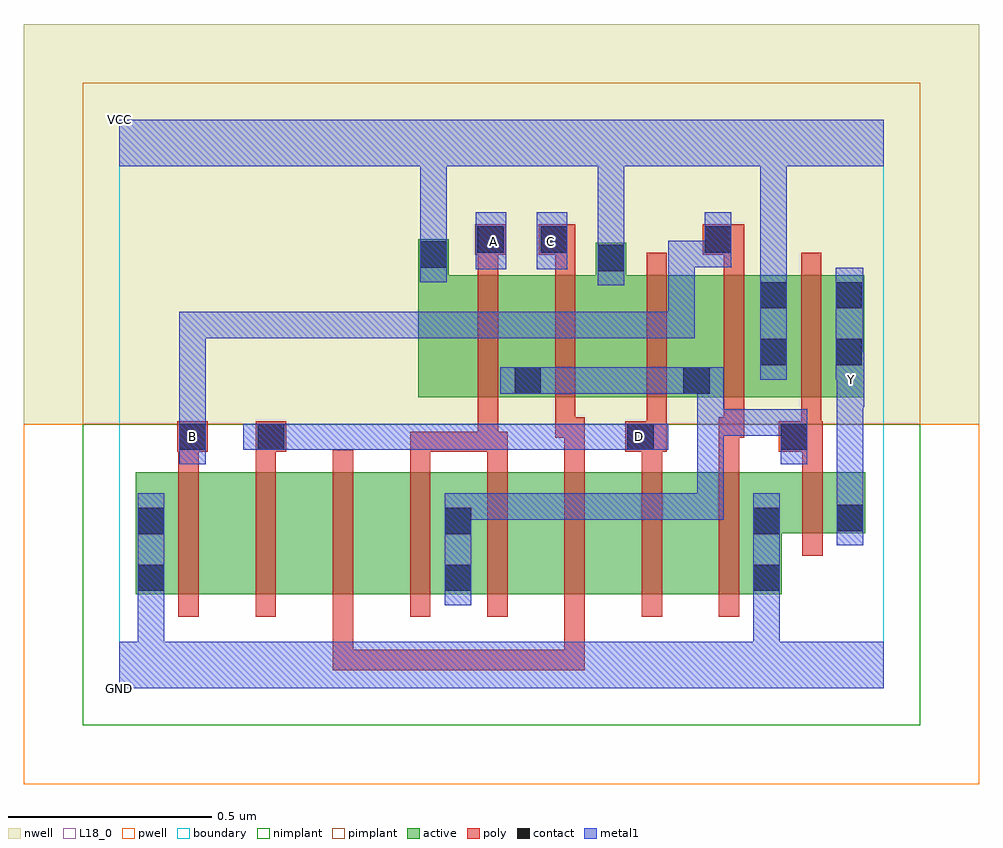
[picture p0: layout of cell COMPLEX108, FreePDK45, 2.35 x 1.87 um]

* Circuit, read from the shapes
.subckt COMPLEX108 A B C D GND VCC Y
M1 n1 B GND VSUBS nfet w=0.3u l=0.05u
M2 n2 D n1 VSUBS nfet w=0.3u l=0.05u
M3 n3 C n2 VSUBS nfet w=0.3u l=0.05u
M4 n4 A n3 VSUBS nfet w=0.3u l=0.05u
M5 n5 A n4 VSUBS nfet w=0.3u l=0.05u
M6 n6 C n5 VSUBS nfet w=0.3u l=0.05u
M7 n7 D n6 VSUBS nfet w=0.3u l=0.05u
M8 GND B n7 VSUBS nfet w=0.3u l=0.05u
M9 Y n4 GND VSUBS nfet w=0.15u l=0.05u
M10 n4 A VCC n8 pfet w=0.3u l=0.05u
M11 VCC C n4 n8 pfet w=0.3u l=0.05u
M12 n4 D VCC n8 pfet w=0.3u l=0.05u
M13 VCC B n4 n8 pfet w=0.3u l=0.05u
M14 Y n4 VCC n8 pfet w=0.3u l=0.05u
.ends

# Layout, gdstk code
import gdstk
lib = gdstk.Library(unit=1e-6, precision=1e-09)
def R(c, l, rs):  # rectangles x0, y0, x1, y1
    for r in rs: c.add(gdstk.rectangle(r[:2], r[2:], *l))
def A(c, l, x, y, w, h, nx, ny, dx, dy):  # array of equal rectangles
    R(c, l, [(x+i*dx, y+j*dy, x+i*dx+w, y+j*dy+h) for i in range(nx) for j in range(ny)])
active = (1, 0)
pwell = (2, 0)
nwell = (3, 0)
nimplant = (4, 0)
pimplant = (5, 0)
poly = (9, 0)
contact = (10, 0)
metal1 = (11, 0)
L18_0 = (18, 0)
boundary = (235, 0)

complex108 = lib.new_cell('COMPLEX108')
R(complex108, active, [(0.04,0.232,0.115,0.532), (0.04,0.232,0.265,0.532), (0.265,0.232,0.455,0.532), (0.455,0.232,0.645,0.532), (0.645,0.232,0.87,0.532), (0.795,0.232,0.87,0.532), (0.795,0.232,1.025,0.532), (1.025,0.232,1.215,0.532), (1.215,0.232,1.405,0.532), (1.405,0.232,1.63,0.532), (1.555,0.232,1.63,0.532), (1.555,0.382,1.835,0.532), (1.76,0.382,1.835,0.532), (0.735,0.717,1.042,1.017), (0.735,0.717,0.81,1.105), (0.967,0.717,1.247,1.017), (1.172,0.717,1.457,1.017), (1.382,0.717,1.647,1.017), (1.572,0.717,1.832,1.017), (1.757,0.717,1.832,1.005), (0.967,0.72,1.042,0.937), (1.382,0.72,1.457,1.005), (1.572,0.79,1.647,1.005), (1.172,0.867,1.247,1.097)])
R(complex108, pwell, [(-0.235,-0.235,2.115,0.65)])
R(complex108, nwell, [(-0.235,0.65,2.115,1.635)])
R(complex108, nimplant, [(-0.09,-0.09,1.97,0.65)])
R(complex108, pimplant, [(-0.09,0.65,1.97,1.49)])
A(complex108, poly, 0.145, 0.177, 0.05, 0.41, 8, 1, 0.19, 0)
A(complex108, poly, 1.297, 0.662, 0.05, 0.41, 3, 1, 0.19, 0)
R(complex108, poly, [(0.525,0.045,0.575,0.227), (0.525,0.045,0.575,0.095), (0.525,0.045,0.575,0.095), (0.525,0.045,0.575,0.095), (0.525,0.045,0.707,0.095), (0.657,0.045,0.707,0.095), (0.657,0.045,0.707,0.095), (0.657,0.045,0.707,0.095), (0.657,0.045,0.897,0.095), (0.847,0.045,0.897,0.095), (0.847,0.045,1.145,0.095), (1.095,0.045,1.145,0.227), (1.095,0.045,1.145,0.095), (1.095,0.045,1.145,0.095), (1.095,0.045,1.145,0.095), (1.68,0.327,1.73,0.587), (0.145,0.537,0.195,0.632), (0.335,0.537,0.385,0.632), (0.715,0.537,0.765,0.632), (0.905,0.537,0.955,0.632), (1.095,0.537,1.145,0.667), (1.285,0.537,1.335,0.632), (1.475,0.537,1.525,0.667), (1.68,0.537,1.73,0.632), (0.142,0.582,0.217,0.657), (0.335,0.582,0.41,0.657), (0.715,0.582,0.765,0.632), (0.715,0.582,0.765,0.632), (0.715,0.582,0.765,0.632), (0.715,0.582,0.932,0.632), (0.882,0.582,0.932,0.712), (0.882,0.582,0.955,0.632), (1.245,0.582,1.347,0.657), (1.622,0.582,1.73,0.657), (1.297,0.607,1.347,0.712), (1.677,0.607,1.727,0.712), (1.072,0.617,1.122,0.712), (1.072,0.617,1.145,0.667), (1.475,0.617,1.537,0.667), (1.487,0.617,1.537,0.712), (0.882,0.662,0.932,1.072), (1.072,0.662,1.122,1.072), (0.882,1.022,0.932,1.117), (1.072,1.022,1.122,1.117), (1.487,1.022,1.537,1.117), (0.875,1.067,0.95,1.142), (1.032,1.067,1.122,1.142), (1.435,1.067,1.537,1.142)])
R(complex108, contact, [(0.045,0.24,0.11,0.305), (0.8,0.24,0.865,0.305), (1.56,0.24,1.625,0.305), (0.045,0.38,0.11,0.445), (0.8,0.38,0.865,0.445), (1.56,0.38,1.625,0.445), (1.765,0.387,1.83,0.452), (0.147,0.587,0.212,0.652), (0.34,0.587,0.405,0.652), (1.25,0.587,1.315,0.652), (1.627,0.587,1.692,0.652), (0.972,0.725,1.037,0.79), (1.387,0.725,1.452,0.79), (1.577,0.795,1.642,0.86), (1.762,0.795,1.827,0.86), (1.577,0.935,1.642,1), (1.762,0.935,1.827,1), (1.177,1.027,1.242,1.092), (0.74,1.035,0.805,1.1), (0.88,1.072,0.945,1.137), (1.037,1.072,1.102,1.137), (1.44,1.072,1.505,1.137)])
R(complex108, metal1, [(0,0,1.88,0.115), (0.045,0.05,0.11,0.115), (0.045,0.05,0.11,0.115), (0.045,0.05,0.11,0.115), (0.045,0.05,0.11,0.115), (0.045,0.05,0.11,0.27), (1.56,0.05,1.625,0.115), (1.56,0.05,1.625,0.115), (1.56,0.05,1.625,0.115), (1.56,0.05,1.625,0.115), (1.56,0.05,1.625,0.27), (0.045,0.205,0.11,0.48), (0.8,0.205,0.865,0.48), (1.56,0.205,1.625,0.48), (1.765,0.352,1.83,0.487), (0.8,0.415,0.865,0.48), (0.8,0.415,0.865,0.48), (0.8,0.415,1.097,0.48), (1.032,0.415,1.097,0.48), (1.032,0.415,1.097,0.48), (1.032,0.415,1.097,0.48), (1.032,0.415,1.277,0.48), (1.212,0.415,1.277,0.48), (1.212,0.415,1.277,0.48), (1.212,0.415,1.277,0.48), (1.212,0.415,1.487,0.48), (1.422,0.415,1.487,0.48), (1.422,0.415,1.487,0.687), (1.765,0.422,1.83,0.757), (0.147,0.552,0.212,0.687), (1.627,0.552,1.692,0.687), (0.305,0.587,0.44,0.652), (0.375,0.587,0.44,0.652), (0.375,0.587,0.44,0.652), (0.375,0.587,0.577,0.652), (0.512,0.587,0.577,0.652), (0.512,0.587,0.577,0.652), (0.512,0.587,0.577,0.652), (0.512,0.587,0.715,0.652), (0.65,0.587,0.715,0.652), (0.65,0.587,0.715,0.652), (0.65,0.587,0.715,0.652), (0.65,0.587,0.935,0.652), (0.87,0.587,0.935,0.652), (0.87,0.587,1.102,0.652), (1.037,0.587,1.102,0.652), (1.037,0.587,1.102,0.652), (1.037,0.587,1.102,0.652), (1.037,0.587,1.277,0.652), (1.212,0.587,1.277,0.652), (1.212,0.587,1.277,0.652), (1.212,0.587,1.35,0.652), (0.147,0.622,0.212,0.687), (0.147,0.622,0.212,0.687), (0.147,0.622,0.212,0.927), (1.422,0.622,1.487,0.687), (1.422,0.622,1.487,0.687), (1.422,0.622,1.487,0.687), (1.422,0.622,1.69,0.687), (1.422,0.622,1.487,0.79), (1.625,0.622,1.69,0.687), (1.625,0.622,1.692,0.687), (1.765,0.692,1.832,0.827), (0.937,0.725,1.072,0.79), (1.007,0.725,1.072,0.79), (1.007,0.725,1.072,0.79), (1.007,0.725,1.24,0.79), (1.175,0.725,1.24,0.79), (1.175,0.725,1.24,0.79), (1.175,0.725,1.24,0.79), (1.175,0.725,1.417,0.79), (1.352,0.725,1.487,0.79), (1.577,0.76,1.642,1.035), (1.762,0.76,1.83,1.035), (1.765,0.76,1.83,0.825), (0.147,0.862,0.212,0.927), (0.147,0.862,0.44,0.927), (0.375,0.862,0.44,0.927), (0.375,0.862,0.44,0.927), (0.375,0.862,0.44,0.927), (0.375,0.862,0.577,0.927), (0.512,0.862,0.577,0.927), (0.512,0.862,0.577,0.927), (0.512,0.862,0.577,0.927), (0.512,0.862,0.727,0.927), (0.662,0.862,0.727,0.927), (0.662,0.862,0.865,0.927), (0.8,0.862,0.865,0.927), (0.8,0.862,0.865,0.927), (0.8,0.862,0.865,0.927), (0.8,0.862,0.865,0.927), (0.8,0.862,0.865,0.927), (0.8,0.862,1.102,0.927), (1.037,0.862,1.102,0.927), (1.037,0.862,1.102,0.927), (1.037,0.862,1.102,0.927), (1.037,0.862,1.277,0.927), (1.212,0.862,1.277,0.927), (1.212,0.862,1.35,0.927), (1.285,0.862,1.35,0.927), (1.285,0.862,1.415,0.927), (1.35,0.862,1.415,0.927), (1.35,0.862,1.415,1.102), (1.577,0.97,1.642,1.35), (1.177,0.992,1.242,1.127), (0.74,1,0.805,1.135), (0.877,1.032,0.952,1.172), (1.027,1.032,1.102,1.172), (1.35,1.037,1.415,1.102), (1.35,1.037,1.415,1.102), (1.35,1.037,1.415,1.102), (1.35,1.037,1.505,1.102), (1.44,1.037,1.505,1.172), (1.177,1.062,1.242,1.127), (1.177,1.062,1.242,1.127), (1.177,1.062,1.242,1.127), (1.177,1.062,1.242,1.127), (1.177,1.062,1.242,1.35), (0.74,1.07,0.805,1.135), (0.74,1.07,0.805,1.135), (0.74,1.07,0.805,1.35), (0,1.285,1.88,1.4), (0.74,1.285,0.805,1.35), (0.74,1.285,0.805,1.35), (1.577,1.285,1.642,1.35), (1.577,1.285,1.642,1.35), (1.577,1.285,1.642,1.35), (1.577,1.285,1.642,1.35)])
R(complex108, L18_0, [(0,0,1.88,0.115), (0.045,0.05,0.11,0.115), (0.045,0.05,0.11,0.115), (0.045,0.05,0.11,0.115), (0.045,0.05,0.11,0.115), (0.045,0.05,0.11,0.27), (1.56,0.05,1.625,0.115), (1.56,0.05,1.625,0.115), (1.56,0.05,1.625,0.115), (1.56,0.05,1.625,0.115), (1.56,0.05,1.625,0.27), (0.045,0.205,0.11,0.48), (1.56,0.205,1.625,0.48), (1.765,0.352,1.83,0.487), (1.765,0.422,1.83,0.757), (0.147,0.552,0.212,0.687), (0.147,0.587,0.212,0.652), (0.305,0.587,0.44,0.652), (0.375,0.587,0.44,0.652), (0.375,0.587,0.44,0.652), (0.375,0.587,0.577,0.652), (0.512,0.587,0.577,0.652), (0.512,0.587,0.577,0.652), (0.512,0.587,0.577,0.652), (0.512,0.587,0.715,0.652), (0.65,0.587,0.715,0.652), (0.65,0.587,0.715,0.652), (0.65,0.587,0.715,0.652), (0.65,0.587,0.935,0.652), (0.87,0.587,0.935,0.652), (0.87,0.587,1.102,0.652), (1.037,0.587,1.102,0.652), (1.037,0.587,1.102,0.652), (1.037,0.587,1.102,0.652), (1.037,0.587,1.277,0.652), (1.212,0.587,1.277,0.652), (1.212,0.587,1.277,0.652), (1.212,0.587,1.35,0.652), (1.247,0.587,1.312,0.652), (0.147,0.622,0.212,0.687), (0.147,0.622,0.212,0.687), (0.147,0.622,0.212,0.927), (1.765,0.692,1.832,0.827), (1.767,0.727,1.832,0.792), (1.577,0.76,1.642,1.035), (1.762,0.76,1.83,1.035), (1.765,0.76,1.83,0.825), (0.147,0.862,0.212,0.927), (0.147,0.862,0.44,0.927), (0.375,0.862,0.44,0.927), (0.375,0.862,0.44,0.927), (0.375,0.862,0.44,0.927), (0.375,0.862,0.577,0.927), (0.512,0.862,0.577,0.927), (0.512,0.862,0.577,0.927), (0.512,0.862,0.577,0.927), (0.512,0.862,0.727,0.927), (0.662,0.862,0.727,0.927), (0.662,0.862,0.865,0.927), (0.8,0.862,0.865,0.927), (0.8,0.862,0.865,0.927), (0.8,0.862,0.865,0.927), (0.8,0.862,0.865,0.927), (0.8,0.862,0.865,0.927), (0.8,0.862,1.102,0.927), (1.037,0.862,1.102,0.927), (1.037,0.862,1.102,0.927), (1.037,0.862,1.102,0.927), (1.037,0.862,1.277,0.927), (1.212,0.862,1.277,0.927), (1.212,0.862,1.35,0.927), (1.285,0.862,1.35,0.927), (1.285,0.862,1.415,0.927), (1.35,0.862,1.415,0.927), (1.35,0.862,1.415,1.102), (1.577,0.97,1.642,1.35), (1.177,0.992,1.242,1.127), (0.74,1,0.805,1.135), (0.877,1.032,0.952,1.172), (1.027,1.032,1.102,1.172), (1.35,1.037,1.415,1.102), (1.35,1.037,1.415,1.102), (1.35,1.037,1.415,1.102), (1.35,1.037,1.505,1.102), (1.44,1.037,1.505,1.172), (1.177,1.062,1.242,1.127), (1.177,1.062,1.242,1.127), (1.177,1.062,1.242,1.127), (1.177,1.062,1.242,1.127), (1.177,1.062,1.242,1.35), (0.887,1.067,0.952,1.132), (1.027,1.067,1.092,1.132), (0.74,1.07,0.805,1.135), (0.74,1.07,0.805,1.135), (0.74,1.07,0.805,1.35), (0,1.285,1.88,1.4), (0.74,1.285,0.805,1.35), (0.74,1.285,0.805,1.35), (1.577,1.285,1.642,1.35), (1.577,1.285,1.642,1.35), (1.577,1.285,1.642,1.35), (1.577,1.285,1.642,1.35)])
R(complex108, boundary, [(0,0,1.88,1.4)])
complex108.add(gdstk.Label('A', (0.92,1.1), layer=11, texttype=0))
complex108.add(gdstk.Label('B', (0.18,0.62), layer=11, texttype=0))
complex108.add(gdstk.Label('C', (1.06,1.1), layer=11, texttype=0))
complex108.add(gdstk.Label('D', (1.28,0.62), layer=11, texttype=0))
complex108.add(gdstk.Label('Y', (1.8,0.76), layer=11, texttype=0))
complex108.add(gdstk.Label('VCC', (0,1.4), layer=11, texttype=0))
complex108.add(gdstk.Label('GND', (0,0), layer=11, texttype=0))

lib.write_gds('COMPLEX108.gds')
